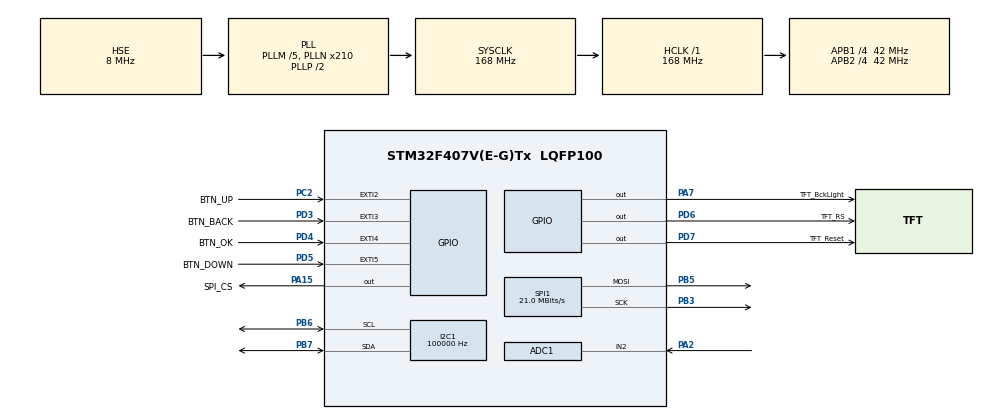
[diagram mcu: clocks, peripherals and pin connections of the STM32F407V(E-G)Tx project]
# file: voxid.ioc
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ADC1.Channel-0\#ChannelRegularConversion=ADC_CHANNEL_2
ADC1.ExternalTrigConv=ADC_EXTERNALTRIGCONV_T2_TRGO
ADC1.DMAContinuousRequests=ENABLE
ADC1.InjNumberOfConversion=0
ADC1.NbrOfConversionFlag=1
ADC1.Rank-0\#ChannelRegularConversion=1
ADC1.SamplingTime-0\#ChannelRegularConversion=ADC_SAMPLETIME_84CYCLES
ADC1.master=1
Dma.ADC1.0.Direction=DMA_PERIPH_TO_MEMORY
Dma.ADC1.0.FIFOMode=DMA_FIFOMODE_DISABLE
Dma.ADC1.0.Instance=DMA2_Stream0
Dma.ADC1.0.MemDataAlignment=DMA_MDATAALIGN_HALFWORD
Dma.ADC1.0.MemInc=DMA_MINC_ENABLE
Dma.ADC1.0.Mode=DMA_CIRCULAR
Dma.ADC1.0.PeriphDataAlignment=DMA_PDATAALIGN_HALFWORD
Dma.ADC1.0.PeriphInc=DMA_PINC_DISABLE
Dma.ADC1.0.Priority=DMA_PRIORITY_HIGH
Dma.Request0=ADC1
I2C1.ClockSpeed=100000
Mcu.Family=STM32F4
Mcu.Name=STM32F407V(E-G)Tx
Mcu.Package=LQFP100
NVIC.ADC_IRQn=true\:0\:0\:false\:false\:true\:true\:true\:true
NVIC.DMA2_Stream0_IRQn=true\:5\:0\:false\:false\:true\:true\:true\:true
NVIC.EXTI2_IRQn=true\:5\:0\:false\:false\:true\:true\:true\:true
NVIC.EXTI3_IRQn=true\:5\:0\:false\:false\:true\:true\:true\:true
NVIC.EXTI4_IRQn=true\:5\:0\:false\:false\:true\:true\:true\:true
NVIC.EXTI9_5_IRQn=true\:5\:0\:false\:false\:true\:true\:true\:true
NVIC.PriorityGroup=NVIC_PRIORITYGROUP_4
PA15.GPIO_Label=SPI_CS
PA15.Signal=GPIO_Output
PA2.Signal=ADCx_IN2
PA7.GPIO_Label=TFT_BckLight
PA7.Signal=GPIO_Output
PB3.Mode=TX_Only_Simplex_Unidirect_Master
PB3.Signal=SPI1_SCK
PB5.Mode=TX_Only_Simplex_Unidirect_Master
PB5.Signal=SPI1_MOSI
PB6.Mode=I2C
PB6.Signal=I2C1_SCL
PB7.Mode=I2C
PB7.Signal=I2C1_SDA
PC2.GPIO_Label=BTN_UP
PC2.GPIO_ModeDefaultEXTI=GPIO_MODE_IT_FALLING
PC2.GPIO_PuPd=GPIO_PULLUP
PC2.Signal=GPXTI2
PD3.GPIO_Label=BTN_BACK
PD3.GPIO_ModeDefaultEXTI=GPIO_MODE_IT_FALLING
PD3.GPIO_PuPd=GPIO_PULLUP
PD3.Signal=GPXTI3
PD4.GPIO_Label=BTN_OK
PD4.GPIO_ModeDefaultEXTI=GPIO_MODE_IT_FALLING
PD4.GPIO_PuPd=GPIO_PULLUP
PD4.Signal=GPXTI4
PD5.GPIO_Label=BTN_DOWN
PD5.GPIO_ModeDefaultEXTI=GPIO_MODE_IT_FALLING
PD5.GPIO_PuPd=GPIO_PULLUP
PD5.Signal=GPXTI5
PD6.GPIO_Label=TFT_RS
PD6.Signal=GPIO_Output
PD7.GPIO_Label=TFT_Reset
PD7.Signal=GPIO_Output
PH0-OSC_IN.Mode=HSE-External-Oscillator
PH0-OSC_IN.Signal=RCC_OSC_IN
PH1-OSC_OUT.Mode=HSE-External-Oscillator
PH1-OSC_OUT.Signal=RCC_OSC_OUT
ProjectManager.HeapSize=0x200
ProjectManager.StackSize=0x400
ProjectManager.TargetToolchain=STM32CubeIDE
RCC.48MHZClocksFreq_Value=84000000
RCC.AHBFreq_Value=168000000
RCC.APB1CLKDivider=RCC_HCLK_DIV4
RCC.APB1Freq_Value=42000000
RCC.APB1TimFreq_Value=84000000
RCC.APB2CLKDivider=RCC_HCLK_DIV4
RCC.APB2Freq_Value=42000000
RCC.APB2TimFreq_Value=84000000
RCC.CortexFreq_Value=168000000
RCC.HCLKFreq_Value=168000000
RCC.HSE_VALUE=8000000
RCC.HSI_VALUE=16000000
RCC.LSE_VALUE=32768
RCC.PLLM=5
RCC.PLLN=210
RCC.PLLSourceVirtual=RCC_PLLSOURCE_HSE
RCC.SYSCLKFreq_VALUE=168000000
RCC.SYSCLKSource=RCC_SYSCLKSOURCE_PLLCLK
RCC.VCOOutputFreq_Value=336000000
SH.ADCx_IN2.0=ADC1_IN2,IN2
SPI1.CalculateBaudRate=21.0 MBits/s
SPI1.Direction=SPI_DIRECTION_2LINES
SPI1.Mode=SPI_MODE_MASTER
SPI1.VirtualType=VM_MASTER
TIM2.Period=5249
TIM2.TIM_MasterOutputTrigger=TIM_TRGO_UPDATE
VP_TIM2_VS_ClockSourceINT.Mode=Internal
board=custom

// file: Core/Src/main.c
/* USER CODE BEGIN Header */
/**
  ******************************************************************************
  * @file           : main.c
  * @brief          : Main program body
  ******************************************************************************
  * @attention
  *
  * Copyright (c) 2026 STMicroelectronics.
  * All rights reserved.
  *
  * This software is licensed under terms that can be found in the LICENSE file
  * in the root directory of this software component.
  * If no LICENSE file comes with this software, it is provided AS-IS.
  *
  ******************************************************************************
  */
/* USER CODE END Header */
#include "main.h"

/* USER CODE BEGIN Includes */
#include "st7735.h"
#include "buttons.h"
#include "ui.h"
#include "voxid_dsp.h"
#include "voxid_audio.h"
#include "voxid_storage.h"

/* USER CODE END Includes */

ADC_HandleTypeDef hadc1;
DMA_HandleTypeDef hdma_adc1;

I2C_HandleTypeDef hi2c1;

SPI_HandleTypeDef hspi1;

TIM_HandleTypeDef htim2;

/* USER CODE BEGIN PV */
static volatile bool ui_ready = false;
/* USER CODE END PV */

void SystemClock_Config(void);
static void MX_GPIO_Init(void);
static void MX_DMA_Init(void);
static void MX_ADC1_Init(void);
static void MX_I2C1_Init(void);
static void MX_SPI1_Init(void);
static void MX_TIM2_Init(void);

int main(void)
{

  /* MCU Configuration--------------------------------------------------------*/

  /* Reset of all peripherals, Initializes the Flash interface and the Systick. */
  HAL_Init();

  /* Configure the system clock */
  SystemClock_Config();

  /* Initialize all configured peripherals */
  MX_GPIO_Init();
  MX_DMA_Init();
  MX_ADC1_Init();
  MX_SPI1_Init();
  MX_TIM2_Init();
  MX_I2C1_Init();

  /* USER CODE BEGIN 2 */

  buttons_init();

  // Preparar el pipeline MFCC antes de capturar muestras reales.
  (void)voxid_dsp_init();

  // Cargar lo recuperable; LOCUTORES informa los fallos de lectura.
  (void)voxid_storage_init(&hi2c1);

  ui_ready = st7735_init(&hspi1);

  if (ui_ready) {
      ui_ready = ui_init();
  }

    /* USER CODE END 2 */

  /* Infinite loop */
  while (1)
  {

    /* USER CODE BEGIN 3 */

    if (ui_ready) {
        voxid_audio_task();
        ui_task();
        HAL_Delay(voxid_audio_status() == VOXID_AUDIO_CAPTURING ? 1U : 5U);
    } else {
        HAL_Delay(100U);
    }
  }
  /* USER CODE END 3 */
}

void SystemClock_Config(void)
{
  RCC_OscInitTypeDef RCC_OscInitStruct = {0};
  RCC_ClkInitTypeDef RCC_ClkInitStruct = {0};

  /** Configure the main internal regulator output voltage
  */
  __HAL_RCC_PWR_CLK_ENABLE();
  __HAL_PWR_VOLTAGESCALING_CONFIG(PWR_REGULATOR_VOLTAGE_SCALE1);

  /** Initializes the RCC Oscillators according to the specified parameters
  * in the RCC_OscInitTypeDef structure.
  */
  RCC_OscInitStruct.OscillatorType = RCC_OSCILLATORTYPE_HSE;
  RCC_OscInitStruct.HSEState = RCC_HSE_ON;
  RCC_OscInitStruct.PLL.PLLState = RCC_PLL_ON;
  RCC_OscInitStruct.PLL.PLLSource = RCC_PLLSOURCE_HSE;
  RCC_OscInitStruct.PLL.PLLM = 5;
  RCC_OscInitStruct.PLL.PLLN = 210;
  RCC_OscInitStruct.PLL.PLLP = RCC_PLLP_DIV2;
  RCC_OscInitStruct.PLL.PLLQ = 4;
  if (HAL_RCC_OscConfig(&RCC_OscInitStruct) != HAL_OK)
  {
    Error_Handler();
  }

  /** Initializes the CPU, AHB and APB buses clocks
  */
  RCC_ClkInitStruct.ClockType = RCC_CLOCKTYPE_HCLK|RCC_CLOCKTYPE_SYSCLK
                              |RCC_CLOCKTYPE_PCLK1|RCC_CLOCKTYPE_PCLK2;
  RCC_ClkInitStruct.SYSCLKSource = RCC_SYSCLKSOURCE_PLLCLK;
  RCC_ClkInitStruct.AHBCLKDivider = RCC_SYSCLK_DIV1;
  RCC_ClkInitStruct.APB1CLKDivider = RCC_HCLK_DIV4;
  RCC_ClkInitStruct.APB2CLKDivider = RCC_HCLK_DIV4;

  if (HAL_RCC_ClockConfig(&RCC_ClkInitStruct, FLASH_LATENCY_5) != HAL_OK)
  {
    Error_Handler();
  }
}

/**
  * @brief DMA controller clock and interrupt configuration.
  * @retval None
  */
static void MX_DMA_Init(void)
{
  __HAL_RCC_DMA2_CLK_ENABLE();

  HAL_NVIC_SetPriority(DMA2_Stream0_IRQn, 5, 0);
  HAL_NVIC_EnableIRQ(DMA2_Stream0_IRQn);
}

static void MX_ADC1_Init(void)
{

  ADC_ChannelConfTypeDef sConfig = {0};

  /** Configure the global features of the ADC (Clock, Resolution, Data Alignment and number of conversion)
  */
  hadc1.Instance = ADC1;
  hadc1.Init.ClockPrescaler = ADC_CLOCK_SYNC_PCLK_DIV2;
  hadc1.Init.Resolution = ADC_RESOLUTION_12B;
  hadc1.Init.ScanConvMode = DISABLE;
  hadc1.Init.ContinuousConvMode = DISABLE;
  hadc1.Init.DiscontinuousConvMode = DISABLE;
  hadc1.Init.ExternalTrigConvEdge = ADC_EXTERNALTRIGCONVEDGE_RISING;
  hadc1.Init.ExternalTrigConv = ADC_EXTERNALTRIGCONV_T2_TRGO;
  hadc1.Init.DataAlign = ADC_DATAALIGN_RIGHT;
  hadc1.Init.NbrOfConversion = 1;
  hadc1.Init.DMAContinuousRequests = ENABLE;
  hadc1.Init.EOCSelection = ADC_EOC_SINGLE_CONV;
  if (HAL_ADC_Init(&hadc1) != HAL_OK)
  {
    Error_Handler();
  }

  /** Configure for the selected ADC regular channel its corresponding rank in the sequencer and its sample time.
  */
  sConfig.Channel = ADC_CHANNEL_2;
  sConfig.Rank = 1;
  sConfig.SamplingTime = ADC_SAMPLETIME_84CYCLES;
  if (HAL_ADC_ConfigChannel(&hadc1, &sConfig) != HAL_OK)
  {
    Error_Handler();
  }

}

static void MX_SPI1_Init(void)
{

  /* SPI1 parameter configuration*/
  hspi1.Instance = SPI1;
  hspi1.Init.Mode = SPI_MODE_MASTER;
  hspi1.Init.Direction = SPI_DIRECTION_2LINES;
  hspi1.Init.DataSize = SPI_DATASIZE_8BIT;
  hspi1.Init.CLKPolarity = SPI_POLARITY_LOW;
  hspi1.Init.CLKPhase = SPI_PHASE_1EDGE;
  hspi1.Init.NSS = SPI_NSS_SOFT;
  hspi1.Init.BaudRatePrescaler = SPI_BAUDRATEPRESCALER_2;
  hspi1.Init.FirstBit = SPI_FIRSTBIT_MSB;
  hspi1.Init.TIMode = SPI_TIMODE_DISABLE;
  hspi1.Init.CRCCalculation = SPI_CRCCALCULATION_DISABLE;
  hspi1.Init.CRCPolynomial = 10;
  if (HAL_SPI_Init(&hspi1) != HAL_OK)
  {
    Error_Handler();
  }

}

static void MX_TIM2_Init(void)
{

  TIM_ClockConfigTypeDef sClockSourceConfig = {0};
  TIM_MasterConfigTypeDef sMasterConfig = {0};

  htim2.Instance = TIM2;
  htim2.Init.Prescaler = 0;
  htim2.Init.CounterMode = TIM_COUNTERMODE_UP;
  htim2.Init.Period = 5249;
  htim2.Init.ClockDivision = TIM_CLOCKDIVISION_DIV1;
  htim2.Init.AutoReloadPreload = TIM_AUTORELOAD_PRELOAD_DISABLE;
  if (HAL_TIM_Base_Init(&htim2) != HAL_OK)
  {
    Error_Handler();
  }
  sClockSourceConfig.ClockSource = TIM_CLOCKSOURCE_INTERNAL;
  if (HAL_TIM_ConfigClockSource(&htim2, &sClockSourceConfig) != HAL_OK)
  {
    Error_Handler();
  }
  sMasterConfig.MasterOutputTrigger = TIM_TRGO_UPDATE;
  sMasterConfig.MasterSlaveMode = TIM_MASTERSLAVEMODE_DISABLE;
  if (HAL_TIMEx_MasterConfigSynchronization(&htim2, &sMasterConfig) != HAL_OK)
  {
    Error_Handler();
  }

}

/**
 * @brief Configura I2C1 a 100 kHz para la EEPROM integrada de Ophyra.
 * @note PB6 es SCL y PB7 es SDA; los GPIO se preparan en el MSP.
 */
static void MX_I2C1_Init(void) {

    hi2c1.Instance = I2C1;
    hi2c1.Init.ClockSpeed = 100000U;
    hi2c1.Init.DutyCycle = I2C_DUTYCYCLE_2;
    hi2c1.Init.OwnAddress1 = 0U;
    hi2c1.Init.AddressingMode = I2C_ADDRESSINGMODE_7BIT;
    hi2c1.Init.DualAddressMode = I2C_DUALADDRESS_DISABLE;
    hi2c1.Init.OwnAddress2 = 0U;
    hi2c1.Init.GeneralCallMode = I2C_GENERALCALL_DISABLE;
    hi2c1.Init.NoStretchMode = I2C_NOSTRETCH_DISABLE;

    if (HAL_I2C_Init(&hi2c1) != HAL_OK) {
        Error_Handler();
    }
}

static void MX_GPIO_Init(void)
{
  GPIO_InitTypeDef GPIO_InitStruct = {0};

  /* GPIO Ports Clock Enable */
  __HAL_RCC_GPIOH_CLK_ENABLE();
  __HAL_RCC_GPIOC_CLK_ENABLE();
  __HAL_RCC_GPIOA_CLK_ENABLE();
  __HAL_RCC_GPIOD_CLK_ENABLE();
  __HAL_RCC_GPIOB_CLK_ENABLE();

  /*Configure GPIO pin Output Level */
  HAL_GPIO_WritePin(GPIOA, TFT_BckLight_Pin|SPI_CS_Pin, GPIO_PIN_RESET);

  /*Configure GPIO pin Output Level */
  HAL_GPIO_WritePin(GPIOD, TFT_RS_Pin|TFT_Reset_Pin, GPIO_PIN_RESET);

  /*Configure GPIO pin : BTN_UP_Pin */
  GPIO_InitStruct.Pin = BTN_UP_Pin;
  GPIO_InitStruct.Mode = GPIO_MODE_IT_FALLING;
  GPIO_InitStruct.Pull = GPIO_PULLUP;
  HAL_GPIO_Init(BTN_UP_GPIO_Port, &GPIO_InitStruct);

  /*Configure GPIO pins : TFT_BckLight_Pin SPI_CS_Pin */
  GPIO_InitStruct.Pin = TFT_BckLight_Pin|SPI_CS_Pin;
  GPIO_InitStruct.Mode = GPIO_MODE_OUTPUT_PP;
  GPIO_InitStruct.Pull = GPIO_NOPULL;
  GPIO_InitStruct.Speed = GPIO_SPEED_FREQ_LOW;
  HAL_GPIO_Init(GPIOA, &GPIO_InitStruct);

  /*Configure GPIO pins : BTN_BACK_Pin BTN_OK_Pin BTN_DOWN_Pin */
  GPIO_InitStruct.Pin = BTN_BACK_Pin|BTN_OK_Pin|BTN_DOWN_Pin;
  GPIO_InitStruct.Mode = GPIO_MODE_IT_FALLING;
  GPIO_InitStruct.Pull = GPIO_PULLUP;
  HAL_GPIO_Init(GPIOD, &GPIO_InitStruct);

  /*Configure GPIO pins : TFT_RS_Pin TFT_Reset_Pin */
  GPIO_InitStruct.Pin = TFT_RS_Pin|TFT_Reset_Pin;
  GPIO_InitStruct.Mode = GPIO_MODE_OUTPUT_PP;
  GPIO_InitStruct.Pull = GPIO_NOPULL;
  GPIO_InitStruct.Speed = GPIO_SPEED_FREQ_LOW;
  HAL_GPIO_Init(GPIOD, &GPIO_InitStruct);

  /* EXTI interrupt init*/
  HAL_NVIC_SetPriority(EXTI2_IRQn, 5, 0);
  HAL_NVIC_EnableIRQ(EXTI2_IRQn);

  HAL_NVIC_SetPriority(EXTI3_IRQn, 5, 0);
  HAL_NVIC_EnableIRQ(EXTI3_IRQn);

  HAL_NVIC_SetPriority(EXTI4_IRQn, 5, 0);
  HAL_NVIC_EnableIRQ(EXTI4_IRQn);

  HAL_NVIC_SetPriority(EXTI9_5_IRQn, 5, 0);
  HAL_NVIC_EnableIRQ(EXTI9_5_IRQn);

}

/* USER CODE BEGIN 4 */

void HAL_GPIO_EXTI_Callback(uint16_t GPIO_Pin)
{
    buttons_on_exti(GPIO_Pin, HAL_GetTick());
}

/* USER CODE END 4 */

void Error_Handler(void)
{
  __disable_irq();
  while (1)
  {
  }
}
